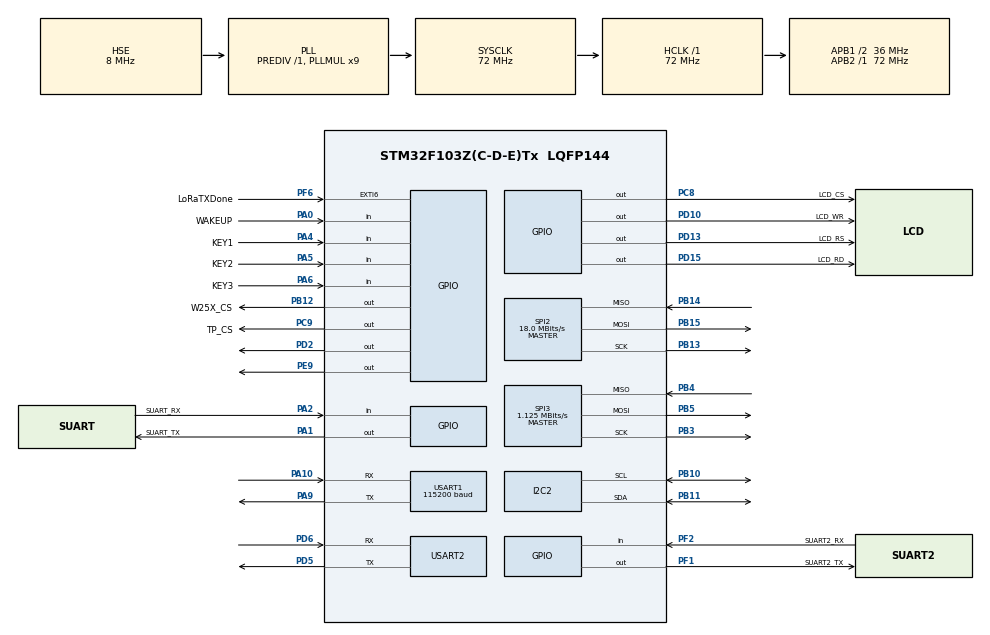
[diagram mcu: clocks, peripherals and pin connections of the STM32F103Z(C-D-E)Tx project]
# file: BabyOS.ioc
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Dma.Request0=USART1_RX
Dma.Request1=USART2_RX
Dma.USART1_RX.0.Direction=DMA_PERIPH_TO_MEMORY
Dma.USART1_RX.0.Instance=DMA1_Channel5
Dma.USART1_RX.0.MemDataAlignment=DMA_MDATAALIGN_BYTE
Dma.USART1_RX.0.MemInc=DMA_MINC_ENABLE
Dma.USART1_RX.0.Mode=DMA_NORMAL
Dma.USART1_RX.0.PeriphDataAlignment=DMA_PDATAALIGN_BYTE
Dma.USART1_RX.0.PeriphInc=DMA_PINC_DISABLE
Dma.USART1_RX.0.Priority=DMA_PRIORITY_HIGH
Dma.USART2_RX.1.Direction=DMA_PERIPH_TO_MEMORY
Dma.USART2_RX.1.Instance=DMA1_Channel6
Dma.USART2_RX.1.MemDataAlignment=DMA_MDATAALIGN_BYTE
Dma.USART2_RX.1.MemInc=DMA_MINC_ENABLE
Dma.USART2_RX.1.Mode=DMA_NORMAL
Dma.USART2_RX.1.PeriphDataAlignment=DMA_PDATAALIGN_BYTE
Dma.USART2_RX.1.PeriphInc=DMA_PINC_DISABLE
Dma.USART2_RX.1.Priority=DMA_PRIORITY_HIGH
Mcu.Family=STM32F1
Mcu.Name=STM32F103Z(C-D-E)Tx
Mcu.Package=LQFP144
NVIC.DMA1_Channel5_IRQn=true\:0\:0\:false\:false\:true\:false
NVIC.DMA1_Channel6_IRQn=true\:0\:0\:false\:false\:true\:false
NVIC.EXTI9_5_IRQn=true\:1\:0\:true\:false\:true\:true
NVIC.PriorityGroup=NVIC_PRIORITYGROUP_4
NVIC.TIM6_IRQn=true\:1\:0\:true\:false\:true\:true
NVIC.USART1_IRQn=true\:1\:0\:true\:false\:true\:true
NVIC.USART2_IRQn=true\:1\:0\:true\:false\:true\:true
OSC_IN.Mode=HSE-External-Oscillator
OSC_IN.Signal=RCC_OSC_IN
OSC_OUT.Mode=HSE-External-Oscillator
OSC_OUT.Signal=RCC_OSC_OUT
PA0-WKUP.GPIO_Label=WAKEUP
PA0-WKUP.Signal=GPIO_Input
PA1.GPIO_Label=SUART_TX
PA1.GPIO_Speed=GPIO_SPEED_FREQ_HIGH
PA1.PinState=GPIO_PIN_SET
PA1.Signal=GPIO_Output
PA10.Mode=Asynchronous
PA10.Signal=USART1_RX
PA13.Mode=Serial_Wire
PA13.Signal=SYS_JTMS-SWDIO
PA14.Mode=Serial_Wire
PA14.Signal=SYS_JTCK-SWCLK
PA2.GPIO_Label=SUART_RX
PA2.Signal=GPIO_Input
PA4.GPIO_Label=KEY1
PA4.Signal=GPIO_Input
PA5.GPIO_Label=KEY2
PA5.Signal=GPIO_Input
PA6.GPIO_Label=KEY3
PA6.Signal=GPIO_Input
PA9.Mode=Asynchronous
PA9.Signal=USART1_TX
PB10.Mode=I2C
PB10.Signal=I2C2_SCL
PB11.Mode=I2C
PB11.Signal=I2C2_SDA
PB12.GPIO_Label=W25X_CS
PB12.GPIO_Speed=GPIO_SPEED_FREQ_MEDIUM
PB12.PinState=GPIO_PIN_SET
PB12.Signal=GPIO_Output
PB13.Mode=Full_Duplex_Master
PB13.Signal=SPI2_SCK
PB14.Mode=Full_Duplex_Master
PB14.Signal=SPI2_MISO
PB15.Mode=Full_Duplex_Master
PB15.Signal=SPI2_MOSI
PB3.Mode=Full_Duplex_Master
PB3.Signal=SPI3_SCK
PB4.Mode=Full_Duplex_Master
PB4.Signal=SPI3_MISO
PB5.Mode=Full_Duplex_Master
PB5.Signal=SPI3_MOSI
PC8.GPIO_Label=LCD_CS
PC8.Signal=GPIO_Output
PC9.GPIO_Label=TP_CS
PC9.GPIO_Speed=GPIO_SPEED_FREQ_HIGH
PC9.PinState=GPIO_PIN_SET
PC9.Signal=GPIO_Output
PD10.GPIO_Label=LCD_WR
PD10.Signal=GPIO_Output
PD13.GPIO_Label=LCD_RS
PD13.Signal=GPIO_Output
PD15.GPIO_Label=LCD_RD
PD15.Signal=GPIO_Output
PD2.GPIO_Speed=GPIO_SPEED_FREQ_HIGH
PD2.PinState=GPIO_PIN_SET
PD2.Signal=GPIO_Output
PD5.Mode=Asynchronous
PD5.Signal=USART2_TX
PD6.Mode=Asynchronous
PD6.Signal=USART2_RX
PE9.Signal=GPIO_Output
PF1.GPIO_Label=SUART2_TX
PF1.GPIO_Speed=GPIO_SPEED_FREQ_HIGH
PF1.PinState=GPIO_PIN_SET
PF1.Signal=GPIO_Output
PF2.GPIO_Label=SUART2_RX
PF2.Signal=GPIO_Input
PF6.GPIO_Label=LoRaTXDone
PF6.GPIO_ModeDefaultEXTI=GPIO_MODE_IT_FALLING
PF6.Signal=GPXTI6
ProjectManager.HeapSize=0x200
ProjectManager.StackSize=0x400
ProjectManager.TargetToolchain=MDK-ARM V5
RCC.AHBFreq_Value=72000000
RCC.APB1CLKDivider=RCC_HCLK_DIV2
RCC.APB1Freq_Value=36000000
RCC.APB1TimFreq_Value=72000000
RCC.APB2Freq_Value=72000000
RCC.APB2TimFreq_Value=72000000
RCC.HCLKFreq_Value=72000000
RCC.PLLMUL=RCC_PLL_MUL9
RCC.PLLSourceVirtual=RCC_PLLSOURCE_HSE
RCC.SYSCLKFreq_VALUE=72000000
RCC.SYSCLKSource=RCC_SYSCLKSOURCE_PLLCLK
RCC.USBFreq_Value=72000000
SPI2.CalculateBaudRate=18.0 MBits/s
SPI2.Direction=SPI_DIRECTION_2LINES
SPI2.Mode=SPI_MODE_MASTER
SPI2.VirtualType=VM_MASTER
SPI3.BaudRatePrescaler=SPI_BAUDRATEPRESCALER_32
SPI3.CalculateBaudRate=1.125 MBits/s
SPI3.Direction=SPI_DIRECTION_2LINES
SPI3.Mode=SPI_MODE_MASTER
SPI3.VirtualType=VM_MASTER
TIM6.Period=103
TIM6.Prescaler=71
USART1.BaudRate=115200
USART1.VirtualMode=VM_ASYNC
USART2.VirtualMode=VM_ASYNC
VP_TIM6_VS_ClockSourceINT.Mode=Enable_Timer
board=custom

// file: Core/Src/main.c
/**
  ******************************************************************************
  * @file           : main.c
  * @brief          : Main program body
  ******************************************************************************
  ** This notice applies to any and all portions of this file
  * that are not between comment pairs USER CODE BEGIN and
  * USER CODE END. Other portions of this file, whether
  * inserted by the user or by software development tools
  * are owned by their respective copyright owners.
  *
  * COPYRIGHT(c) 2020 STMicroelectronics
  *
  * Redistribution and use in source and binary forms, with or without modification,
  * are permitted provided that the following conditions are met:
  *   1. Redistributions of source code must retain the above copyright notice,
  *      this list of conditions and the following disclaimer.
  *   2. Redistributions in binary form must reproduce the above copyright notice,
  *      this list of conditions and the following disclaimer in the documentation
  *      and/or other materials provided with the distribution.
  *   3. Neither the name of STMicroelectronics nor the names of its contributors
  *      may be used to endorse or promote products derived from this software
  *      without specific prior written permission.
  *
  * THIS SOFTWARE IS PROVIDED BY THE COPYRIGHT HOLDERS AND CONTRIBUTORS "AS IS"
  * AND ANY EXPRESS OR IMPLIED WARRANTIES, INCLUDING, BUT NOT LIMITED TO, THE
  * IMPLIED WARRANTIES OF MERCHANTABILITY AND FITNESS FOR A PARTICULAR PURPOSE ARE
  * DISCLAIMED. IN NO EVENT SHALL THE COPYRIGHT HOLDER OR CONTRIBUTORS BE LIABLE
  * FOR ANY DIRECT, INDIRECT, INCIDENTAL, SPECIAL, EXEMPLARY, OR CONSEQUENTIAL
  * DAMAGES (INCLUDING, BUT NOT LIMITED TO, PROCUREMENT OF SUBSTITUTE GOODS OR
  * SERVICES; LOSS OF USE, DATA, OR PROFITS; OR BUSINESS INTERRUPTION) HOWEVER
  * CAUSED AND ON ANY THEORY OF LIABILITY, WHETHER IN CONTRACT, STRICT LIABILITY,
  * OR TORT (INCLUDING NEGLIGENCE OR OTHERWISE) ARISING IN ANY WAY OUT OF THE USE
  * OF THIS SOFTWARE, EVEN IF ADVISED OF THE POSSIBILITY OF SUCH DAMAGE.
  *
  ******************************************************************************
  */
#include "main.h"
#include "stm32f1xx_hal.h"

/* USER CODE BEGIN Includes */
#include "b_os.h"
/* USER CODE END Includes */

I2C_HandleTypeDef hi2c2;

SPI_HandleTypeDef hspi2;
SPI_HandleTypeDef hspi3;

TIM_HandleTypeDef htim6;

UART_HandleTypeDef huart1;
UART_HandleTypeDef huart2;
DMA_HandleTypeDef hdma_usart1_rx;
DMA_HandleTypeDef hdma_usart2_rx;

/* USER CODE BEGIN PV */
/* Private variables ---------------------------------------------------------*/

/* USER CODE END PV */

void SystemClock_Config(void);
static void MX_GPIO_Init(void);
static void MX_DMA_Init(void);
static void MX_SPI2_Init(void);
static void MX_TIM6_Init(void);
static void MX_USART1_UART_Init(void);
static void MX_USART2_UART_Init(void);
static void MX_SPI3_Init(void);
static void MX_I2C2_Init(void);

/* USER CODE BEGIN PFP */
/* Private function prototypes -----------------------------------------------*/

/* USER CODE END PFP */

/* USER CODE BEGIN 0 */
void TestLog()
{
    b_log_w("hello world\r\n");
}

void SortTest()
{
    int i = 0;
    uint8_t table[10] = {5,8,9,1,4,2,6,8,5,2};
    BubbleSort(table, 10, _ALGO_SORT_U8);
    for(i = 0;i < 10;i++)
    {
        b_log("%d ", table[i]);
    }
    b_log("\r\n");
}

/* USER CODE END 0 */

int main(void)
{
  /* USER CODE BEGIN 1 */
  lfs_file_t file;
  /* USER CODE END 1 */

  /* MCU Configuration----------------------------------------------------------*/

  /* Reset of all peripherals, Initializes the Flash interface and the Systick. */
  HAL_Init();

  /* Configure the system clock */
  SystemClock_Config();

  /* Initialize all configured peripherals */
  MX_GPIO_Init();
  MX_DMA_Init();
  MX_SPI2_Init();
  MX_TIM6_Init();
  MX_USART1_UART_Init();
  MX_USART2_UART_Init();
  MX_SPI3_Init();
  MX_I2C2_Init();

  /* Infinite loop */
  /* USER CODE BEGIN WHILE */
  bInit();
  SortTest();
  bFS_Init();

  //<<<  Test LittleFS  (SPIFLASH + LittleFS)
  // read current count
  uint32_t boot_count = 0;
  lfs_file_open(&bLittleFS, &file, "boot_count", LFS_O_RDWR | LFS_O_CREAT);
  lfs_file_read(&bLittleFS, &file, &boot_count, sizeof(boot_count));

  // update boot count
  boot_count += 1;
  lfs_file_rewind(&bLittleFS, &file);
  lfs_file_write(&bLittleFS, &file, &boot_count, sizeof(boot_count));

  // remember the storage is not updated until the file is closed successfully
  lfs_file_close(&bLittleFS, &file);

  // release any resources we were using
  lfs_unmount(&bLittleFS);

  // print the boot count
  b_log("boot_count: %d\n", boot_count);

  while (1)
  {
      bExec();
  /* USER CODE END WHILE */

  /* USER CODE BEGIN 3 */
      BOS_PERIODIC_TASK(TestLog, 5000);
  }
  /* USER CODE END 3 */

}

void SystemClock_Config(void)
{

  RCC_OscInitTypeDef RCC_OscInitStruct;
  RCC_ClkInitTypeDef RCC_ClkInitStruct;

    /**Initializes the CPU, AHB and APB busses clocks
    */
  RCC_OscInitStruct.OscillatorType = RCC_OSCILLATORTYPE_HSE;
  RCC_OscInitStruct.HSEState = RCC_HSE_ON;
  RCC_OscInitStruct.HSEPredivValue = RCC_HSE_PREDIV_DIV1;
  RCC_OscInitStruct.HSIState = RCC_HSI_ON;
  RCC_OscInitStruct.PLL.PLLState = RCC_PLL_ON;
  RCC_OscInitStruct.PLL.PLLSource = RCC_PLLSOURCE_HSE;
  RCC_OscInitStruct.PLL.PLLMUL = RCC_PLL_MUL9;
  if (HAL_RCC_OscConfig(&RCC_OscInitStruct) != HAL_OK)
  {
    _Error_Handler(__FILE__, __LINE__);
  }

    /**Initializes the CPU, AHB and APB busses clocks
    */
  RCC_ClkInitStruct.ClockType = RCC_CLOCKTYPE_HCLK|RCC_CLOCKTYPE_SYSCLK
                              |RCC_CLOCKTYPE_PCLK1|RCC_CLOCKTYPE_PCLK2;
  RCC_ClkInitStruct.SYSCLKSource = RCC_SYSCLKSOURCE_PLLCLK;
  RCC_ClkInitStruct.AHBCLKDivider = RCC_SYSCLK_DIV1;
  RCC_ClkInitStruct.APB1CLKDivider = RCC_HCLK_DIV2;
  RCC_ClkInitStruct.APB2CLKDivider = RCC_HCLK_DIV1;

  if (HAL_RCC_ClockConfig(&RCC_ClkInitStruct, FLASH_LATENCY_2) != HAL_OK)
  {
    _Error_Handler(__FILE__, __LINE__);
  }

    /**Configure the Systick interrupt time
    */
  HAL_SYSTICK_Config(HAL_RCC_GetHCLKFreq()/1000);

    /**Configure the Systick
    */
  HAL_SYSTICK_CLKSourceConfig(SYSTICK_CLKSOURCE_HCLK);

  /* SysTick_IRQn interrupt configuration */
  HAL_NVIC_SetPriority(SysTick_IRQn, 0, 0);
}

/* I2C2 init function */
static void MX_I2C2_Init(void)
{

  hi2c2.Instance = I2C2;
  hi2c2.Init.ClockSpeed = 100000;
  hi2c2.Init.DutyCycle = I2C_DUTYCYCLE_2;
  hi2c2.Init.OwnAddress1 = 0;
  hi2c2.Init.AddressingMode = I2C_ADDRESSINGMODE_7BIT;
  hi2c2.Init.DualAddressMode = I2C_DUALADDRESS_DISABLE;
  hi2c2.Init.OwnAddress2 = 0;
  hi2c2.Init.GeneralCallMode = I2C_GENERALCALL_DISABLE;
  hi2c2.Init.NoStretchMode = I2C_NOSTRETCH_DISABLE;
  if (HAL_I2C_Init(&hi2c2) != HAL_OK)
  {
    _Error_Handler(__FILE__, __LINE__);
  }

}

/* SPI2 init function */
static void MX_SPI2_Init(void)
{

  /* SPI2 parameter configuration*/
  hspi2.Instance = SPI2;
  hspi2.Init.Mode = SPI_MODE_MASTER;
  hspi2.Init.Direction = SPI_DIRECTION_2LINES;
  hspi2.Init.DataSize = SPI_DATASIZE_8BIT;
  hspi2.Init.CLKPolarity = SPI_POLARITY_LOW;
  hspi2.Init.CLKPhase = SPI_PHASE_1EDGE;
  hspi2.Init.NSS = SPI_NSS_SOFT;
  hspi2.Init.BaudRatePrescaler = SPI_BAUDRATEPRESCALER_2;
  hspi2.Init.FirstBit = SPI_FIRSTBIT_MSB;
  hspi2.Init.TIMode = SPI_TIMODE_DISABLE;
  hspi2.Init.CRCCalculation = SPI_CRCCALCULATION_DISABLE;
  hspi2.Init.CRCPolynomial = 10;
  if (HAL_SPI_Init(&hspi2) != HAL_OK)
  {
    _Error_Handler(__FILE__, __LINE__);
  }

}

/* SPI3 init function */
static void MX_SPI3_Init(void)
{

  /* SPI3 parameter configuration*/
  hspi3.Instance = SPI3;
  hspi3.Init.Mode = SPI_MODE_MASTER;
  hspi3.Init.Direction = SPI_DIRECTION_2LINES;
  hspi3.Init.DataSize = SPI_DATASIZE_8BIT;
  hspi3.Init.CLKPolarity = SPI_POLARITY_LOW;
  hspi3.Init.CLKPhase = SPI_PHASE_1EDGE;
  hspi3.Init.NSS = SPI_NSS_SOFT;
  hspi3.Init.BaudRatePrescaler = SPI_BAUDRATEPRESCALER_32;
  hspi3.Init.FirstBit = SPI_FIRSTBIT_MSB;
  hspi3.Init.TIMode = SPI_TIMODE_DISABLE;
  hspi3.Init.CRCCalculation = SPI_CRCCALCULATION_DISABLE;
  hspi3.Init.CRCPolynomial = 10;
  if (HAL_SPI_Init(&hspi3) != HAL_OK)
  {
    _Error_Handler(__FILE__, __LINE__);
  }

}

/* TIM6 init function */
static void MX_TIM6_Init(void)
{

  TIM_MasterConfigTypeDef sMasterConfig;

  htim6.Instance = TIM6;
  htim6.Init.Prescaler = 71;
  htim6.Init.CounterMode = TIM_COUNTERMODE_UP;
  htim6.Init.Period = 103;
  htim6.Init.AutoReloadPreload = TIM_AUTORELOAD_PRELOAD_DISABLE;
  if (HAL_TIM_Base_Init(&htim6) != HAL_OK)
  {
    _Error_Handler(__FILE__, __LINE__);
  }

  sMasterConfig.MasterOutputTrigger = TIM_TRGO_RESET;
  sMasterConfig.MasterSlaveMode = TIM_MASTERSLAVEMODE_DISABLE;
  if (HAL_TIMEx_MasterConfigSynchronization(&htim6, &sMasterConfig) != HAL_OK)
  {
    _Error_Handler(__FILE__, __LINE__);
  }

}

/* USART1 init function */
static void MX_USART1_UART_Init(void)
{

  huart1.Instance = USART1;
  huart1.Init.BaudRate = 115200;
  huart1.Init.WordLength = UART_WORDLENGTH_8B;
  huart1.Init.StopBits = UART_STOPBITS_1;
  huart1.Init.Parity = UART_PARITY_NONE;
  huart1.Init.Mode = UART_MODE_TX_RX;
  huart1.Init.HwFlowCtl = UART_HWCONTROL_NONE;
  huart1.Init.OverSampling = UART_OVERSAMPLING_16;
  if (HAL_UART_Init(&huart1) != HAL_OK)
  {
    _Error_Handler(__FILE__, __LINE__);
  }

}

/* USART2 init function */
static void MX_USART2_UART_Init(void)
{

  huart2.Instance = USART2;
  huart2.Init.BaudRate = 115200;
  huart2.Init.WordLength = UART_WORDLENGTH_8B;
  huart2.Init.StopBits = UART_STOPBITS_1;
  huart2.Init.Parity = UART_PARITY_NONE;
  huart2.Init.Mode = UART_MODE_TX_RX;
  huart2.Init.HwFlowCtl = UART_HWCONTROL_NONE;
  huart2.Init.OverSampling = UART_OVERSAMPLING_16;
  if (HAL_UART_Init(&huart2) != HAL_OK)
  {
    _Error_Handler(__FILE__, __LINE__);
  }

}

static void MX_DMA_Init(void)
{
  /* DMA controller clock enable */
  __HAL_RCC_DMA1_CLK_ENABLE();

  /* DMA interrupt init */
  /* DMA1_Channel5_IRQn interrupt configuration */
  HAL_NVIC_SetPriority(DMA1_Channel5_IRQn, 0, 0);
  HAL_NVIC_EnableIRQ(DMA1_Channel5_IRQn);
  /* DMA1_Channel6_IRQn interrupt configuration */
  HAL_NVIC_SetPriority(DMA1_Channel6_IRQn, 0, 0);
  HAL_NVIC_EnableIRQ(DMA1_Channel6_IRQn);

}

/** Configure pins as
        * Analog
        * Input
        * Output
        * EVENT_OUT
        * EXTI
*/
static void MX_GPIO_Init(void)
{

  GPIO_InitTypeDef GPIO_InitStruct;

  /* GPIO Ports Clock Enable */
  __HAL_RCC_GPIOF_CLK_ENABLE();
  __HAL_RCC_GPIOA_CLK_ENABLE();
  __HAL_RCC_GPIOE_CLK_ENABLE();
  __HAL_RCC_GPIOB_CLK_ENABLE();
  __HAL_RCC_GPIOD_CLK_ENABLE();
  __HAL_RCC_GPIOC_CLK_ENABLE();

  /*Configure GPIO pin Output Level */
  HAL_GPIO_WritePin(SUART2_TX_GPIO_Port, SUART2_TX_Pin, GPIO_PIN_SET);

  /*Configure GPIO pin Output Level */
  HAL_GPIO_WritePin(SUART_TX_GPIO_Port, SUART_TX_Pin, GPIO_PIN_SET);

  /*Configure GPIO pin Output Level */
  HAL_GPIO_WritePin(GPIOE, GPIO_PIN_9, GPIO_PIN_RESET);

  /*Configure GPIO pin Output Level */
  HAL_GPIO_WritePin(W25X_CS_GPIO_Port, W25X_CS_Pin, GPIO_PIN_SET);

  /*Configure GPIO pin Output Level */
  HAL_GPIO_WritePin(GPIOD, LCD_WR_Pin|LCD_RS_Pin|LCD_RD_Pin, GPIO_PIN_RESET);

  /*Configure GPIO pin Output Level */
  HAL_GPIO_WritePin(LCD_CS_GPIO_Port, LCD_CS_Pin, GPIO_PIN_RESET);

  /*Configure GPIO pin Output Level */
  HAL_GPIO_WritePin(TP_CS_GPIO_Port, TP_CS_Pin, GPIO_PIN_SET);

  /*Configure GPIO pin Output Level */
  HAL_GPIO_WritePin(GPIOD, GPIO_PIN_2, GPIO_PIN_SET);

  /*Configure GPIO pin : SUART2_TX_Pin */
  GPIO_InitStruct.Pin = SUART2_TX_Pin;
  GPIO_InitStruct.Mode = GPIO_MODE_OUTPUT_PP;
  GPIO_InitStruct.Pull = GPIO_NOPULL;
  GPIO_InitStruct.Speed = GPIO_SPEED_FREQ_HIGH;
  HAL_GPIO_Init(SUART2_TX_GPIO_Port, &GPIO_InitStruct);

  /*Configure GPIO pin : SUART2_RX_Pin */
  GPIO_InitStruct.Pin = SUART2_RX_Pin;
  GPIO_InitStruct.Mode = GPIO_MODE_INPUT;
  GPIO_InitStruct.Pull = GPIO_NOPULL;
  HAL_GPIO_Init(SUART2_RX_GPIO_Port, &GPIO_InitStruct);

  /*Configure GPIO pin : LoRaTXDone_Pin */
  GPIO_InitStruct.Pin = LoRaTXDone_Pin;
  GPIO_InitStruct.Mode = GPIO_MODE_IT_FALLING;
  GPIO_InitStruct.Pull = GPIO_NOPULL;
  HAL_GPIO_Init(LoRaTXDone_GPIO_Port, &GPIO_InitStruct);

  /*Configure GPIO pins : WAKEUP_Pin SUART_RX_Pin KEY1_Pin KEY2_Pin
                           KEY3_Pin */
  GPIO_InitStruct.Pin = WAKEUP_Pin|SUART_RX_Pin|KEY1_Pin|KEY2_Pin
                          |KEY3_Pin;
  GPIO_InitStruct.Mode = GPIO_MODE_INPUT;
  GPIO_InitStruct.Pull = GPIO_NOPULL;
  HAL_GPIO_Init(GPIOA, &GPIO_InitStruct);

  /*Configure GPIO pin : SUART_TX_Pin */
  GPIO_InitStruct.Pin = SUART_TX_Pin;
  GPIO_InitStruct.Mode = GPIO_MODE_OUTPUT_PP;
  GPIO_InitStruct.Pull = GPIO_NOPULL;
  GPIO_InitStruct.Speed = GPIO_SPEED_FREQ_HIGH;
  HAL_GPIO_Init(SUART_TX_GPIO_Port, &GPIO_InitStruct);

  /*Configure GPIO pin : PE9 */
  GPIO_InitStruct.Pin = GPIO_PIN_9;
  GPIO_InitStruct.Mode = GPIO_MODE_OUTPUT_PP;
  GPIO_InitStruct.Pull = GPIO_NOPULL;
  GPIO_InitStruct.Speed = GPIO_SPEED_FREQ_LOW;
  HAL_GPIO_Init(GPIOE, &GPIO_InitStruct);

  /*Configure GPIO pin : W25X_CS_Pin */
  GPIO_InitStruct.Pin = W25X_CS_Pin;
  GPIO_InitStruct.Mode = GPIO_MODE_OUTPUT_PP;
  GPIO_InitStruct.Pull = GPIO_NOPULL;
  GPIO_InitStruct.Speed = GPIO_SPEED_FREQ_MEDIUM;
  HAL_GPIO_Init(W25X_CS_GPIO_Port, &GPIO_InitStruct);

  /*Configure GPIO pins : LCD_WR_Pin LCD_RS_Pin LCD_RD_Pin */
  GPIO_InitStruct.Pin = LCD_WR_Pin|LCD_RS_Pin|LCD_RD_Pin;
  GPIO_InitStruct.Mode = GPIO_MODE_OUTPUT_PP;
  GPIO_InitStruct.Pull = GPIO_NOPULL;
  GPIO_InitStruct.Speed = GPIO_SPEED_FREQ_LOW;
  HAL_GPIO_Init(GPIOD, &GPIO_InitStruct);

  /*Configure GPIO pin : LCD_CS_Pin */
  GPIO_InitStruct.Pin = LCD_CS_Pin;
  GPIO_InitStruct.Mode = GPIO_MODE_OUTPUT_PP;
  GPIO_InitStruct.Pull = GPIO_NOPULL;
  GPIO_InitStruct.Speed = GPIO_SPEED_FREQ_LOW;
  HAL_GPIO_Init(LCD_CS_GPIO_Port, &GPIO_InitStruct);

  /*Configure GPIO pin : TP_CS_Pin */
  GPIO_InitStruct.Pin = TP_CS_Pin;
  GPIO_InitStruct.Mode = GPIO_MODE_OUTPUT_PP;
  GPIO_InitStruct.Pull = GPIO_NOPULL;
  GPIO_InitStruct.Speed = GPIO_SPEED_FREQ_HIGH;
  HAL_GPIO_Init(TP_CS_GPIO_Port, &GPIO_InitStruct);

  /*Configure GPIO pin : PD2 */
  GPIO_InitStruct.Pin = GPIO_PIN_2;
  GPIO_InitStruct.Mode = GPIO_MODE_OUTPUT_PP;
  GPIO_InitStruct.Pull = GPIO_NOPULL;
  GPIO_InitStruct.Speed = GPIO_SPEED_FREQ_HIGH;
  HAL_GPIO_Init(GPIOD, &GPIO_InitStruct);

  /* EXTI interrupt init*/
  HAL_NVIC_SetPriority(EXTI9_5_IRQn, 1, 0);
  HAL_NVIC_EnableIRQ(EXTI9_5_IRQn);

}

void _Error_Handler(char *file, int line)
{
  while(1)
  {
  }
}

/************************ (C) COPYRIGHT STMicroelectronics *****END OF FILE****/
